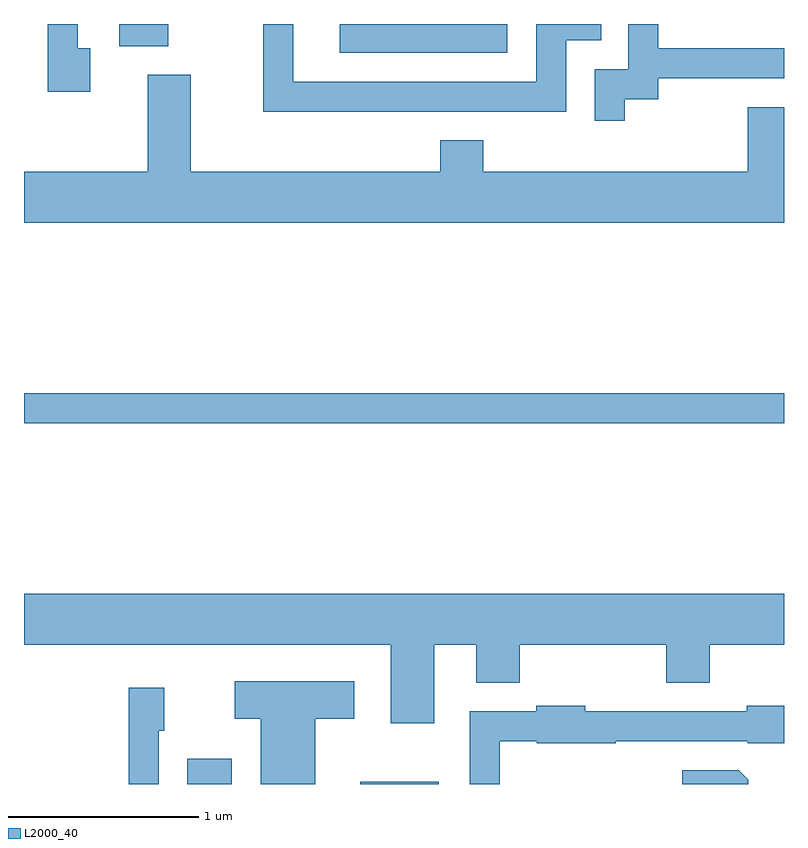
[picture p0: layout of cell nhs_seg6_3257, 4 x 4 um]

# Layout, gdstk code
import gdstk
lib = gdstk.Library(unit=1e-6, precision=1e-09)
def R(c, l, rs):  # rectangles x0, y0, x1, y1
    for r in rs: c.add(gdstk.rectangle(r[:2], r[2:], *l))
def P(c, l, *ps):  # polygons
    for p in ps: c.add(gdstk.Polygon(p, *l))
L2000_40 = (2000, 40)

nhs_seg6_3257 = lib.new_cell('nhs_seg6_3257')
R(nhs_seg6_3257, L2000_40, [(284.471,1578.162,284.704,1578.294), (285.381,1578.162,285.794,1578.174), (283.611,1580.061,287.611,1580.219), (285.273,1582.011,286.154,1582.162), (284.111,1582.046,284.369,1582.162)])
P(nhs_seg6_3257, L2000_40, [(286.774,1581.766),(286.949,1581.766),(286.949,1581.876),(287.611,1581.876),(287.611,1582.034),(286.949,1582.034),(286.949,1582.162),(286.791,1582.162),(286.791,1581.924),(286.616,1581.924),(286.616,1581.653),(286.774,1581.653)],
  [(283.959,1582.034),(283.894,1582.034),(283.894,1582.162),(283.736,1582.162),(283.736,1581.806),(283.959,1581.806)],
  [(286.464,1582.076),(286.648,1582.076),(286.648,1582.162),(286.306,1582.162),(286.306,1581.859),(285.029,1581.859),(285.029,1582.162),(284.871,1582.162),(284.871,1581.701),(286.464,1581.701)],
  [(287.611,1581.724),(287.421,1581.724),(287.421,1581.384),(286.029,1581.384),(286.029,1581.549),(285.801,1581.549),(285.801,1581.384),(284.489,1581.384),(284.489,1581.894),(284.261,1581.894),(284.261,1581.384),(283.611,1581.384),(283.611,1581.116),(287.611,1581.116)],
  [(285.769,1578.896),(285.991,1578.896),(285.991,1578.696),(286.219,1578.696),(286.219,1578.896),(286.991,1578.896),(286.991,1578.696),(287.219,1578.696),(287.219,1578.896),(287.611,1578.896),(287.611,1579.164),(283.611,1579.164),(283.611,1578.896),(285.541,1578.896),(285.541,1578.481),(285.769,1578.481)],
  [(285.144,1578.506),(285.349,1578.506),(285.349,1578.704),(284.721,1578.704),(284.721,1578.506),(284.856,1578.506),(284.856,1578.162),(285.144,1578.162)],
  [(284.319,1578.441),(284.349,1578.441),(284.349,1578.669),(284.161,1578.669),(284.161,1578.162),(284.319,1578.162)],
  [(286.114,1578.386),(286.31,1578.386),(286.31,1578.376),(286.725,1578.376),(286.725,1578.386),(287.42,1578.386),(287.42,1578.376),(287.611,1578.376),(287.611,1578.574),(287.416,1578.574),(287.416,1578.544),(286.564,1578.544),(286.564,1578.574),(286.306,1578.574),(286.306,1578.544),(285.956,1578.544),(285.956,1578.162),(286.114,1578.162)],
  [(287.424,1578.184),(287.374,1578.234),(287.076,1578.234),(287.076,1578.162),(287.424,1578.162)])

lib.write_gds('nhs_seg6_3257.gds')
